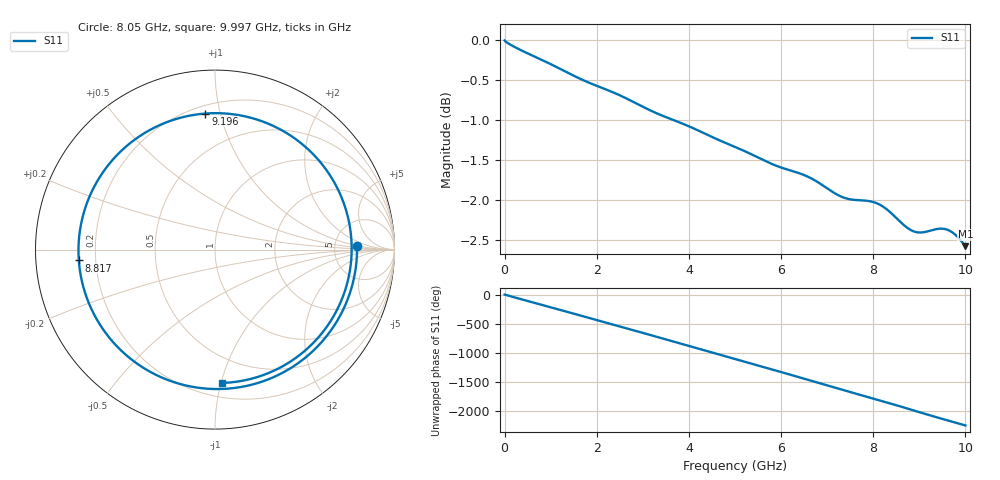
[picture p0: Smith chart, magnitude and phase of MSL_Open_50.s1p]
!Created with skrf (http://scikit-rf.org).
# MHz S RI R 50.0
!freq ReS11 ImS11
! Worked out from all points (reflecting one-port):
!   10000 points, 1 MHz to 10 GHz, reference 50 ohm
!   lowest |S11| = -2.6 dB at 10 GHz (marker M1), VSWR 6.81, Z = 14.9 - j49.6 ohm
!   phase of S11 starts at -0 deg and turns -2248 deg over the sweep
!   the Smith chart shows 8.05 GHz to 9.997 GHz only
!   S11 on the Smith chart (normalised r, x): 8.05 GHz: 8.50, +0.93; 8.817 GHz: 0.14, -0.04; 9.196 GHz: 0.25, +0.90; 9.997 GHz: 0.30, -1.00
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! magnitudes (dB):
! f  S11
! 1 MHz  0.0
! 304 MHz  -0.1
! 1.251 GHz  -0.4
! 1.732 GHz  -0.5
! 2.501 GHz  -0.7
! 3.219 GHz  -0.9
! 3.751 GHz  -1.0
! 5.001 GHz  -1.3
! 5.81 GHz  -1.5
! 6.251 GHz  -1.6
! 6.611 GHz  -1.7
! 6.786 GHz  -1.8
! 7.22 GHz  -1.9
! 7.361 GHz  -2.0
! 7.501 GHz  -2.0
! 7.881 GHz  -2.0
! 8.05 GHz  -2.0
! 8.17 GHz  -2.1
! 8.292 GHz  -2.1
! 8.751 GHz  -2.3
! 8.817 GHz  -2.4
! 8.992 GHz  -2.4
! 9.196 GHz  -2.4
! 9.439 GHz  -2.4
! 9.614 GHz  -2.4
! 9.779 GHz  -2.4
! 9.997 GHz  -2.6
! 10 GHz  -2.6
